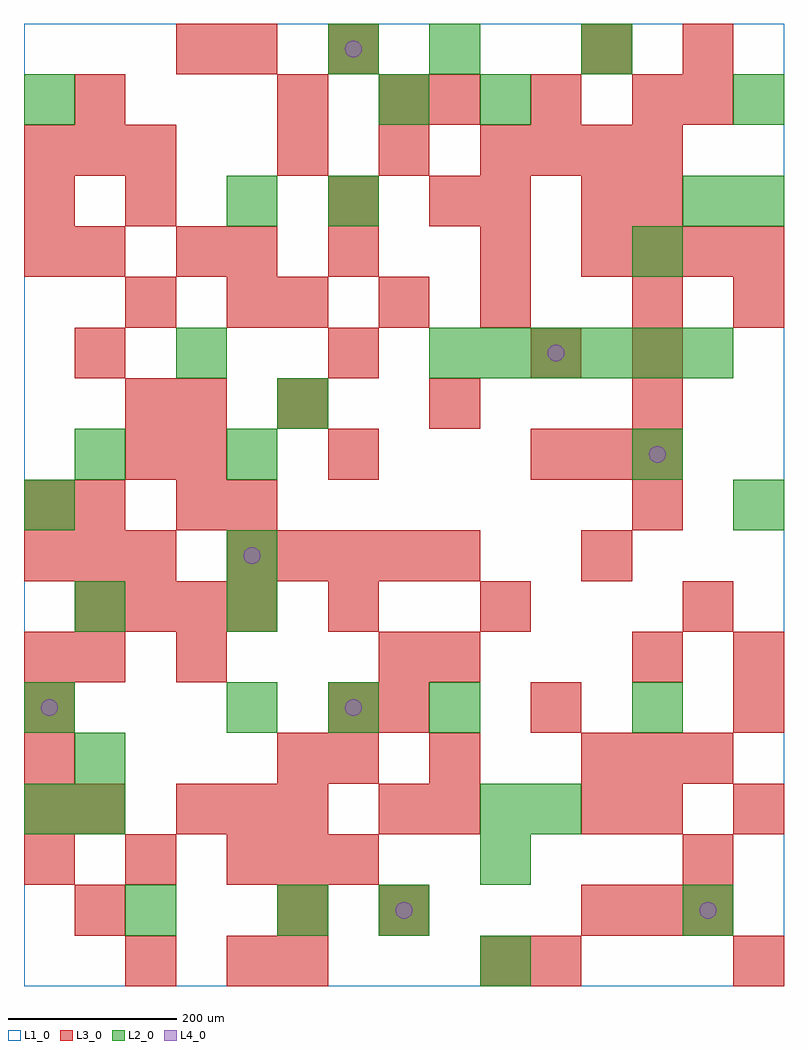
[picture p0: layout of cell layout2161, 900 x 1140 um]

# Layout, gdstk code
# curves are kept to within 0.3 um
import gdstk
lib = gdstk.Library(unit=1e-6, precision=1e-09)
def R(c, l, rs):  # rectangles x0, y0, x1, y1
    for r in rs: c.add(gdstk.rectangle(r[:2], r[2:], *l))
def A(c, l, x, y, w, h, nx, ny, dx, dy):  # array of equal rectangles
    R(c, l, [(x+i*dx, y+j*dy, x+i*dx+w, y+j*dy+h) for i in range(nx) for j in range(ny)])
def P(c, l, *ps):  # polygons
    for p in ps: c.add(gdstk.Polygon(p, *l))
L1_0 = (1, 0)
L2_0 = (2, 0)
L3_0 = (3, 0)
L4_0 = (4, 0)

layout2161 = lib.new_cell('layout2161')
R(layout2161, L1_0, [(0,0,900,1140)])
A(layout2161, L2_0, 60, 240, 60, 60, 1, 3, 0, 180)
A(layout2161, L2_0, 240, 300, 60, 60, 3, 1, 120, 0)
A(layout2161, L2_0, 480, 720, 60, 60, 6, 1, 60, 0)
R(layout2161, L2_0, [(540,0,600,60), (120,60,180,120), (300,60,360,120), (420,60,480,120), (780,60,840,120), (540,120,600,180), (0,180,60,240), (60,180,120,240), (540,180,600,240), (600,180,660,240), (0,300,60,360), (720,300,780,360), (240,420,300,480), (240,480,300,540), (0,540,60,600), (840,540,900,600), (240,600,300,660), (720,600,780,660), (300,660,360,720), (180,720,240,780), (720,840,780,900), (240,900,300,960), (360,900,420,960), (780,900,840,960), (840,900,900,960), (0,1020,60,1080), (420,1020,480,1080), (540,1020,600,1080), (840,1020,900,1080), (360,1080,420,1140), (480,1080,540,1140), (660,1080,720,1140)])
A(layout2161, L3_0, 300, 0, 60, 60, 1, 3, 0, 60)
A(layout2161, L3_0, 540, 0, 60, 60, 1, 3, 0, 420)
A(layout2161, L3_0, 420, 60, 60, 60, 1, 3, 0, 120)
A(layout2161, L3_0, 660, 60, 60, 60, 3, 2, 60, 180)
A(layout2161, L3_0, 0, 120, 60, 60, 3, 1, 120, 0)
A(layout2161, L3_0, 0, 180, 60, 60, 1, 4, 0, 60)
A(layout2161, L3_0, 60, 180, 60, 60, 1, 4, 0, 180)
A(layout2161, L3_0, 180, 180, 60, 60, 3, 1, 60, 0)
A(layout2161, L3_0, 720, 180, 60, 60, 1, 3, 0, 180)
A(layout2161, L3_0, 60, 420, 60, 60, 4, 1, 60, 0)
A(layout2161, L3_0, 0, 480, 60, 60, 3, 2, 60, 480)
A(layout2161, L3_0, 240, 480, 60, 60, 5, 1, 60, 0)
A(layout2161, L3_0, 180, 540, 60, 60, 1, 3, 0, 60)
A(layout2161, L3_0, 360, 600, 60, 60, 1, 3, 0, 120)
A(layout2161, L3_0, 600, 600, 60, 60, 3, 2, 60, 360)
A(layout2161, L3_0, 120, 660, 60, 60, 1, 3, 0, 120)
A(layout2161, L3_0, 720, 660, 60, 60, 1, 3, 0, 60)
A(layout2161, L3_0, 300, 780, 60, 60, 3, 2, 120, 180)
A(layout2161, L3_0, 660, 840, 60, 60, 4, 1, 60, 0)
A(layout2161, L3_0, 480, 1020, 60, 60, 3, 1, 120, 0)
R(layout2161, L3_0, [(120,0,180,60), (240,0,300,60), (600,0,660,60), (840,0,900,60), (60,60,120,120), (360,120,420,180), (780,120,840,180), (480,180,540,240), (660,180,720,240), (840,180,900,240), (300,240,360,300), (360,240,420,300), (480,240,540,300), (360,300,420,360), (600,300,660,360), (840,300,900,360), (180,360,240,420), (420,360,480,420), (480,360,540,420), (840,360,900,420), (360,420,420,480), (780,420,840,480), (660,480,720,540), (0,540,60,600), (240,540,300,600), (120,600,180,660), (300,660,360,720), (480,660,540,720), (600,720,660,780), (240,780,300,840), (840,780,900,840), (0,840,60,900), (60,840,120,900), (180,840,240,900), (240,840,300,900), (0,900,60,960), (360,900,420,960), (480,900,540,960), (540,900,600,960), (660,900,720,960), (720,900,780,960), (60,1020,120,1080), (300,1020,360,1080), (420,1020,480,1080), (780,1020,840,1080), (180,1080,240,1140), (240,1080,300,1140), (360,1080,420,1140), (660,1080,720,1140), (780,1080,840,1140)])
P(layout2161, L4_0, [(40,330),(39.239,333.827),(37.071,337.071),(33.827,339.239),(30,340),(26.173,339.239),(22.929,337.071),(20.761,333.827),(20,330),(20.761,326.173),(22.929,322.929),(26.173,320.761),(30,320),(33.827,320.761),(37.071,322.929),(39.239,326.173)],
  [(280,510),(279.239,513.827),(277.071,517.071),(273.827,519.239),(270,520),(266.173,519.239),(262.929,517.071),(260.761,513.827),(260,510),(260.761,506.173),(262.929,502.929),(266.173,500.761),(270,500),(273.827,500.761),(277.071,502.929),(279.239,506.173)],
  [(400,330),(399.239,333.827),(397.071,337.071),(393.827,339.239),(390,340),(386.173,339.239),(382.929,337.071),(380.761,333.827),(380,330),(380.761,326.173),(382.929,322.929),(386.173,320.761),(390,320),(393.827,320.761),(397.071,322.929),(399.239,326.173)],
  [(400,1110),(399.239,1113.827),(397.071,1117.071),(393.827,1119.239),(390,1120),(386.173,1119.239),(382.929,1117.071),(380.761,1113.827),(380,1110),(380.761,1106.173),(382.929,1102.929),(386.173,1100.761),(390,1100),(393.827,1100.761),(397.071,1102.929),(399.239,1106.173)],
  [(460,90),(459.239,93.827),(457.071,97.071),(453.827,99.239),(450,100),(446.173,99.239),(442.929,97.071),(440.761,93.827),(440,90),(440.761,86.173),(442.929,82.929),(446.173,80.761),(450,80),(453.827,80.761),(457.071,82.929),(459.239,86.173)],
  [(640,750),(639.239,753.827),(637.071,757.071),(633.827,759.239),(630,760),(626.173,759.239),(622.929,757.071),(620.761,753.827),(620,750),(620.761,746.173),(622.929,742.929),(626.173,740.761),(630,740),(633.827,740.761),(637.071,742.929),(639.239,746.173)],
  [(760,630),(759.239,633.827),(757.071,637.071),(753.827,639.239),(750,640),(746.173,639.239),(742.929,637.071),(740.761,633.827),(740,630),(740.761,626.173),(742.929,622.929),(746.173,620.761),(750,620),(753.827,620.761),(757.071,622.929),(759.239,626.173)],
  [(820,90),(819.239,93.827),(817.071,97.071),(813.827,99.239),(810,100),(806.173,99.239),(802.929,97.071),(800.761,93.827),(800,90),(800.761,86.173),(802.929,82.929),(806.173,80.761),(810,80),(813.827,80.761),(817.071,82.929),(819.239,86.173)])

lib.write_gds('layout2161.gds')
